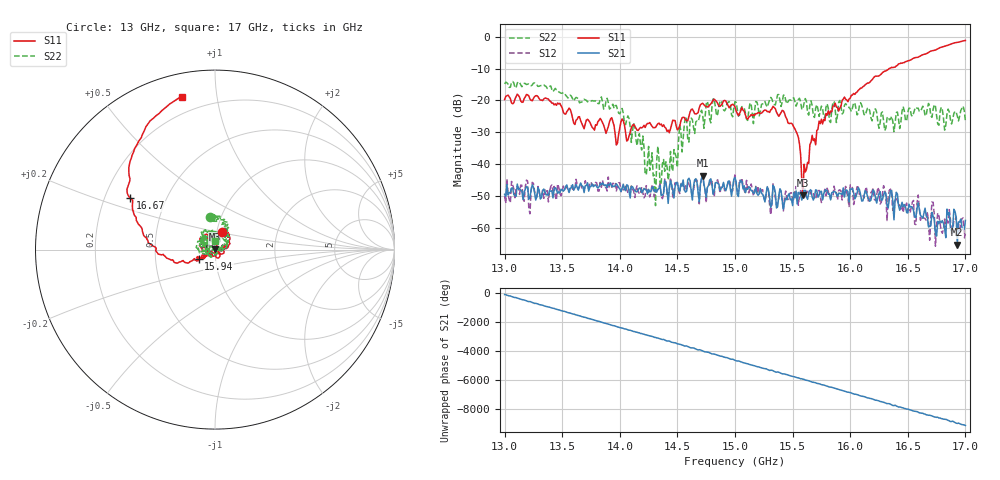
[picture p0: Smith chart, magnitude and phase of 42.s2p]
!Keysight Technologies,P9374A,MY57211807,A.19.30.04
!Date: Friday, May 01, 2026 14:14:38
!Correction: S11(C  2-Port  )
!S21(C  2-Port  )
!S12(C  2-Port  )
!S22(C  2-Port  )
!S2P File: Measurements: S11, S21, S12, S22:
# Hz S  RI  R 50
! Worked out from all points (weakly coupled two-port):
!   401 points, 13 GHz to 17 GHz, reference 50 ohm
!   highest |S21| = -43.59 dB at 14.72 GHz (marker M1); lowest = -65.3 dB at 16.93 GHz (marker M2)
!   lowest |S11| = -49.8 dB at 15.59 GHz (marker M3), VSWR 1.01, Z = 49.8 + j0.271 ohm
!   |S11| at or under -10 dB: start of sweep to 16.34 GHz
!   |S22| runs from -53.0 to -14.1 dB; largest |S21 - S12| = 0.0017
!   S11 on the Smith chart (normalised r, x): 13 GHz: 1.06, +0.21; 15.94 GHz: 0.83, -0.08; 16.67 GHz: 0.31, +0.25; 17 GHz: 0.11, +0.80
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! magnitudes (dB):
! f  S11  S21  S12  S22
! 13 GHz  -19.7  -49.5  -50.0  -14.8
! 13.37 GHz  -19.5  -49.6  -48.3  -16.2
! 13.67 GHz  -27.2  -46.8  -47.5  -20.5
! 13.93 GHz  -25.4  -47.1  -47.5  -21.7
! 13.96 GHz  -30.7  -46.8  -45.7  -21.6
! 14.02 GHz  -25.8  -47.6  -47.5  -22.5
! 14.19 GHz  -28.6  -49.0  -47.2  -35.6
! 14.29 GHz  -28.6  -47.1  -47.8  -43.7
! 14.34 GHz  -27.1  -47.6  -47.2  -38.3
! 14.44 GHz  -28.9  -45.1  -44.7  -36.0
! 14.57 GHz  -26.1  -48.8  -46.8  -25.0
! 14.72 GHz  -20.9  -43.6  -43.1  -24.7
! 15 GHz  -22.0  -44.1  -43.4  -20.4
! 15.42 GHz  -23.3  -54.1  -54.7  -18.4
! 15.54 GHz  -30.5  -52.5  -50.2  -20.9
! 15.59 GHz  -49.8  -50.2  -50.2  -22.5
! 15.67 GHz  -31.0  -50.3  -48.5  -21.7
! 15.94 GHz  -19.6  -47.5  -49.1  -23.8
! 16.34 GHz  -10.0  -50.8  -48.2  -26.1
! 16.67 GHz  -5.2  -56.6  -54.9  -22.3
! 16.93 GHz  -1.8  -65.3  -60.3  -24.9
! 17 GHz  -1.2  -57.7  -61.8  -26.5
